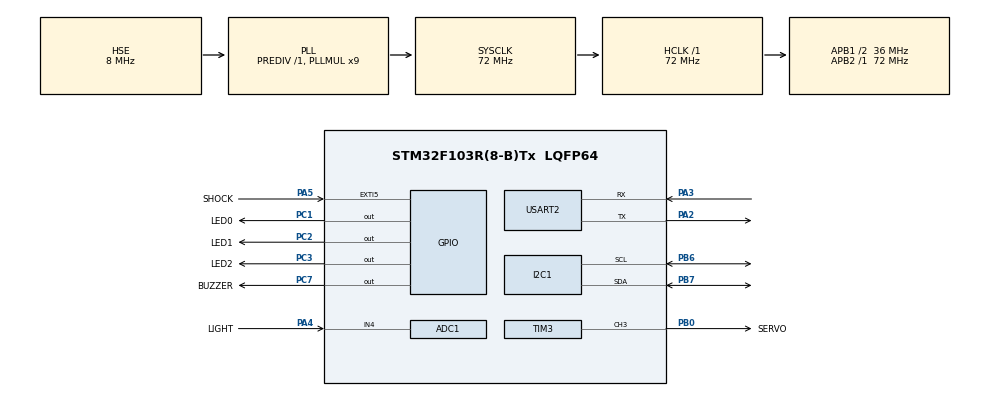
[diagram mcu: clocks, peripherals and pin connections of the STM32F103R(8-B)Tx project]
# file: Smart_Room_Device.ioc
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ADC1.Channel-0\#ChannelRegularConversion=ADC_CHANNEL_4
ADC1.ExternalTrigConv=ADC_SOFTWARE_START
ADC1.NbrOfConversionFlag=1
ADC1.Rank-0\#ChannelRegularConversion=1
ADC1.SamplingTime-0\#ChannelRegularConversion=ADC_SAMPLETIME_1CYCLE_5
ADC1.master=1
I2C1.I2C_Mode=I2C_Fast
Mcu.Family=STM32F1
Mcu.Name=STM32F103R(8-B)Tx
Mcu.Package=LQFP64
NVIC.EXTI9_5_IRQn=true\:0\:0\:false\:false\:true\:true\:true\:true
NVIC.PriorityGroup=NVIC_PRIORITYGROUP_4
NVIC.USART2_IRQn=true\:0\:0\:false\:false\:true\:true\:true\:true
PA2.Mode=Asynchronous
PA2.Signal=USART2_TX
PA3.Mode=Asynchronous
PA3.Signal=USART2_RX
PA4.GPIO_Label=LIGHT
PA4.Signal=ADCx_IN4
PA5.GPIO_Label=SHOCK
PA5.GPIO_ModeDefaultEXTI=GPIO_MODE_IT_FALLING
PA5.GPIO_PuPd=GPIO_PULLUP
PA5.Signal=GPXTI5
PB0.GPIO_Label=SERVO
PB0.Signal=S_TIM3_CH3
PB6.Mode=I2C
PB6.Signal=I2C1_SCL
PB7.Mode=I2C
PB7.Signal=I2C1_SDA
PC1.GPIO_Label=LED0
PC1.Signal=GPIO_Output
PC2.GPIO_Label=LED1
PC2.Signal=GPIO_Output
PC3.GPIO_Label=LED2
PC3.Signal=GPIO_Output
PC7.GPIO_Label=BUZZER
PC7.Signal=GPIO_Output
PD0-OSC_IN.Mode=HSE-External-Oscillator
PD0-OSC_IN.Signal=RCC_OSC_IN
PD1-OSC_OUT.Mode=HSE-External-Oscillator
PD1-OSC_OUT.Signal=RCC_OSC_OUT
ProjectManager.HeapSize=0x200
ProjectManager.StackSize=0x400
ProjectManager.TargetToolchain=MDK-ARM V5.32
RCC.ADCPresc=RCC_ADCPCLK2_DIV6
RCC.AHBFreq_Value=72000000
RCC.APB1CLKDivider=RCC_HCLK_DIV2
RCC.APB1Freq_Value=36000000
RCC.APB1TimFreq_Value=72000000
RCC.APB2Freq_Value=72000000
RCC.APB2TimFreq_Value=72000000
RCC.HCLKFreq_Value=72000000
RCC.PLLMUL=RCC_PLL_MUL9
RCC.PLLSourceVirtual=RCC_PLLSOURCE_HSE
RCC.SYSCLKFreq_VALUE=72000000
RCC.SYSCLKSource=RCC_SYSCLKSOURCE_PLLCLK
RCC.USBFreq_Value=72000000
SH.ADCx_IN4.0=ADC1_IN4,IN4
SH.S_TIM3_CH3.0=TIM3_CH3,PWM Generation3 CH3
TIM2.Prescaler=71
TIM3.Channel-PWM\ Generation3\ CH3=TIM_CHANNEL_3
TIM3.Period=20000
TIM3.Prescaler=71
TIM3.Pulse-PWM\ Generation3\ CH3=0
USART2.VirtualMode=VM_ASYNC
VP_SYS_VS_ND.Mode=No_Debug
VP_TIM2_VS_ClockSourceINT.Mode=Internal
VP_TIM3_VS_ClockSourceINT.Mode=Internal
board=custom

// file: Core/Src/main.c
/* USER CODE BEGIN Header */
/**
  ******************************************************************************
  * @file           : main.c
  * @brief          : Main program body
  ******************************************************************************
  * @attention
  *
  * Copyright (c) 2026 STMicroelectronics.
  * All rights reserved.
  *
  * This software is licensed under terms that can be found in the LICENSE file
  * in the root directory of this software component.
  * If no LICENSE file comes with this software, it is provided AS-IS.
  *
  ******************************************************************************
  */
/* USER CODE END Header */
#include "main.h"
#include "adc.h"
#include "i2c.h"
#include "tim.h"
#include "usart.h"
#include "gpio.h"

/* USER CODE BEGIN Includes */
#include <stdio.h>
#include <string.h>
#include "dht11.h"
#include "light.h"
#include "servo.h"
#include "sht3x.h"
/* USER CODE END Includes */

/* USER CODE BEGIN PM */
#define DEVCIE_ID "wangjiayu"       // 每套设备必须唯一
/* USER CODE END PM */

void SystemClock_Config(void);

int main(void)
{

  /* MCU Configuration--------------------------------------------------------*/

  /* Reset of all peripherals, Initializes the Flash interface and the Systick. */
  HAL_Init();

  /* USER CODE BEGIN Init */
SHT3X_Init();
  /* USER CODE END Init */

  /* Configure the system clock */
  SystemClock_Config();

  /* Initialize all configured peripherals */
  MX_GPIO_Init();
  MX_ADC1_Init();
  MX_TIM2_Init();
  MX_USART2_UART_Init();
  MX_TIM3_Init();
  MX_I2C1_Init();
  /* USER CODE BEGIN 2 */
	DHT11_Init();
	Servo_Init();
  HAL_ADCEx_Calibration_Start(&hadc1);

  /* USER CODE END 2 */

  /* Infinite loop */
  /* USER CODE BEGIN WHILE */
	float temp = 0;
	float humi = 0;
	uint32_t light;
	uint8_t shock;
	uint8_t switch_state = 0;
	char upload_data[100];

  while (1)
  {
		// 采集一次温湿度数据
		if(SHT3X_Get(&temp, &humi) == 0)
		{
			// 如果采集温湿度数据成功，就上传云端
			sprintf(upload_data, "%s/sensor/dht11 %.1f_%.1f\n", DEVCIE_ID, temp, humi);
			HAL_UART_Transmit(&huart2, (uint8_t*)upload_data, strlen(upload_data), 1000);
		}

		// 采集光照强度, 并上传到云端
		light = Light_Get();
		sprintf(upload_data, "%s/sensor/light %u\n", DEVCIE_ID, light);
		HAL_UART_Transmit(&huart2, (uint8_t*)upload_data, strlen(upload_data), 1000);

		// 采集震动传感器数据，并上传到云端
		shock = HAL_GPIO_ReadPin(SHOCK_GPIO_Port, SHOCK_Pin);
		sprintf(upload_data, "%s/sensor/shock %u\n", DEVCIE_ID, shock);
		HAL_UART_Transmit(&huart2, (uint8_t*)upload_data, strlen(upload_data), 1000);

		// 上传各种设备状态数据

		// 获取蜂鸣器状态并上传
		switch_state = HAL_GPIO_ReadPin(BUZZER_GPIO_Port, BUZZER_Pin);

		sprintf(upload_data, "%s/state/buzzer %u\n", DEVCIE_ID, switch_state);
		HAL_UART_Transmit(&huart2, (uint8_t*)upload_data, strlen(upload_data), 1000);

		//获取LED 的状态并上传
		switch_state = HAL_GPIO_ReadPin(LED2_GPIO_Port, LED2_Pin);

		sprintf(upload_data, "%s/state/led %u\n", DEVCIE_ID, switch_state);
		HAL_UART_Transmit(&huart2, (uint8_t*)upload_data, strlen(upload_data), 1000);

		// 其他需要上传的设备状态数据可以在这里进行扩展

		// 采集周期为 2S
		HAL_Delay(2000);

    /* USER CODE END WHILE */

  }
}

void SystemClock_Config(void)
{
  RCC_OscInitTypeDef RCC_OscInitStruct = {0};
  RCC_ClkInitTypeDef RCC_ClkInitStruct = {0};
  RCC_PeriphCLKInitTypeDef PeriphClkInit = {0};

  /** Initializes the RCC Oscillators according to the specified parameters
  * in the RCC_OscInitTypeDef structure.
  */
  RCC_OscInitStruct.OscillatorType = RCC_OSCILLATORTYPE_HSE;
  RCC_OscInitStruct.HSEState = RCC_HSE_ON;
  RCC_OscInitStruct.HSEPredivValue = RCC_HSE_PREDIV_DIV1;
  RCC_OscInitStruct.HSIState = RCC_HSI_ON;
  RCC_OscInitStruct.PLL.PLLState = RCC_PLL_ON;
  RCC_OscInitStruct.PLL.PLLSource = RCC_PLLSOURCE_HSE;
  RCC_OscInitStruct.PLL.PLLMUL = RCC_PLL_MUL9;
  if (HAL_RCC_OscConfig(&RCC_OscInitStruct) != HAL_OK)
  {
    Error_Handler();
  }

  /** Initializes the CPU, AHB and APB buses clocks
  */
  RCC_ClkInitStruct.ClockType = RCC_CLOCKTYPE_HCLK|RCC_CLOCKTYPE_SYSCLK
                              |RCC_CLOCKTYPE_PCLK1|RCC_CLOCKTYPE_PCLK2;
  RCC_ClkInitStruct.SYSCLKSource = RCC_SYSCLKSOURCE_PLLCLK;
  RCC_ClkInitStruct.AHBCLKDivider = RCC_SYSCLK_DIV1;
  RCC_ClkInitStruct.APB1CLKDivider = RCC_HCLK_DIV2;
  RCC_ClkInitStruct.APB2CLKDivider = RCC_HCLK_DIV1;

  if (HAL_RCC_ClockConfig(&RCC_ClkInitStruct, FLASH_LATENCY_2) != HAL_OK)
  {
    Error_Handler();
  }
  PeriphClkInit.PeriphClockSelection = RCC_PERIPHCLK_ADC;
  PeriphClkInit.AdcClockSelection = RCC_ADCPCLK2_DIV6;
  if (HAL_RCCEx_PeriphCLKConfig(&PeriphClkInit) != HAL_OK)
  {
    Error_Handler();
  }
}

void Error_Handler(void)
{
  __disable_irq();
  while (1)
  {
  }
}
